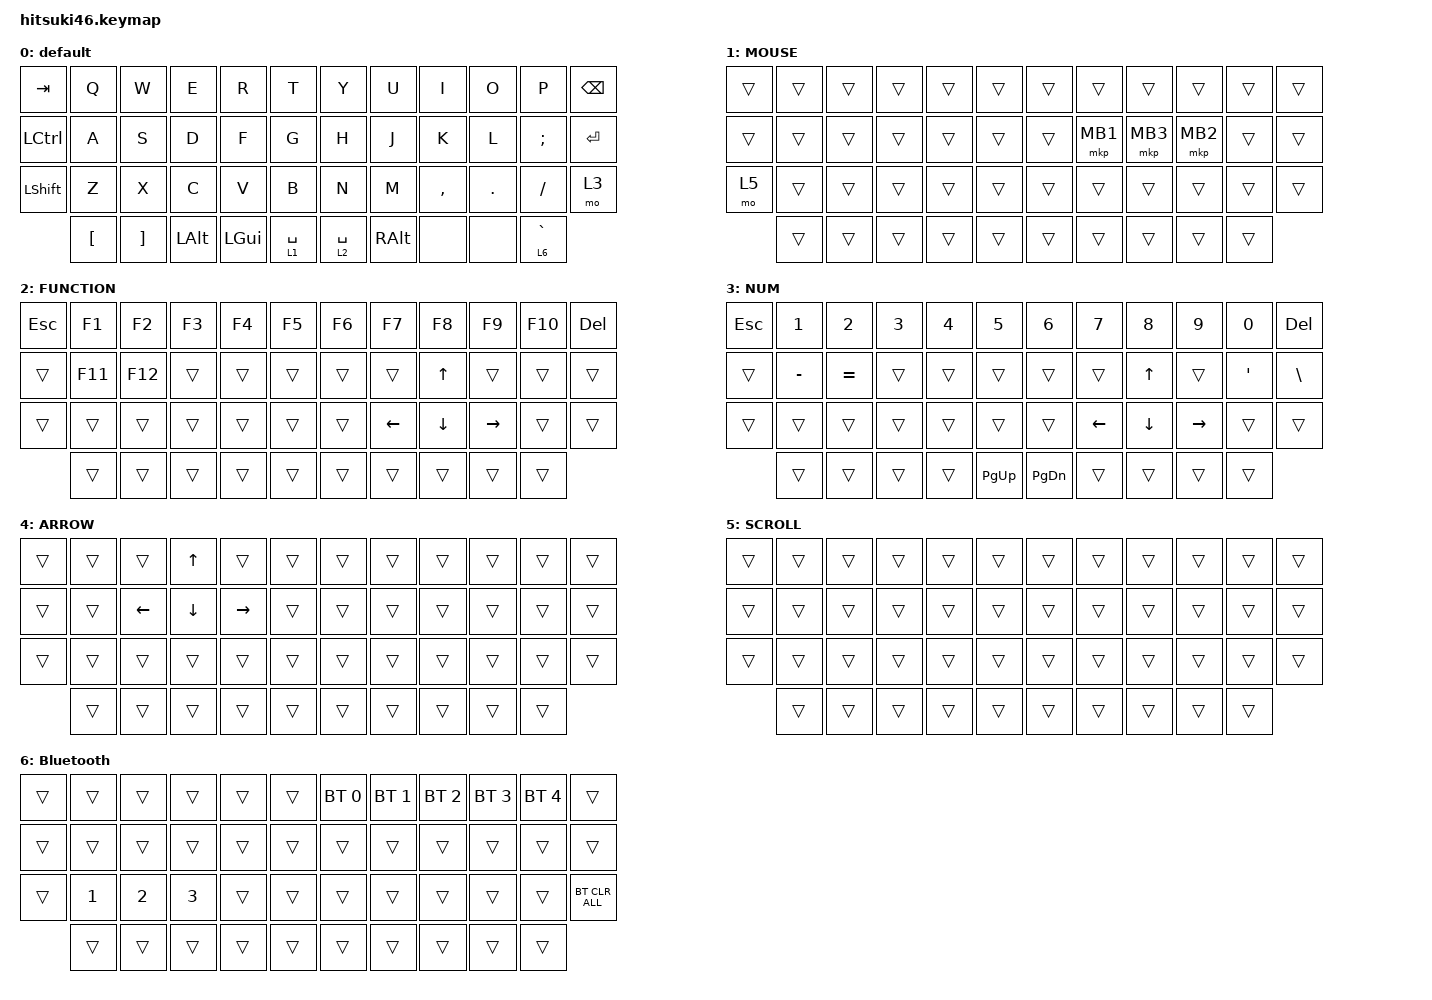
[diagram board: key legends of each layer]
#include <behaviors.dtsi>
#include <dt-bindings/zmk/bt.h>
#include <dt-bindings/zmk/keys.h>
#include <dt-bindings/zmk/pointing.h>

&mt {
    flavor = "balanced";
    quick-tap-ms = <0>;
};

// &trackball {
//     // Note: automouse-layer and scroll-layers are no longer supported in badjeff/zmk-pmw3610-driver
//     // These features should now be configured using layer-based zmk,input-listener in keymap
//     // automouse-layer = <1>;
//     // scroll-layers = <5>;
// };

/ {
    combos {
        compatible = "zmk,combos";

        tab {
            bindings = <&kp TAB>;
            key-positions = <11 12>;
        };

        shift_tab {
            bindings = <&kp LS(TAB)>;
            key-positions = <12 13>;
        };

        muhennkann {
            bindings = <&to_layer_0 INT_MUHENKAN>;
            key-positions = <11 10>;
        };

        double_quotation {
            bindings = <&kp DOUBLE_QUOTES>;
            key-positions = <20 21>;
        };

        eq {
            bindings = <&kp EQUAL>;
            key-positions = <24 25>;
        };
    };

    macros {
        to_layer_0: to_layer_0 {
            compatible = "zmk,behavior-macro-one-param";
            #binding-cells = <1>;
            bindings = <&to 0 &macro_param_1to1 &kp MACRO_PLACEHOLDER>;
            label = "TO_LAYER_0";
        };
    };

    behaviors {
        lt_to_layer_0: lt_to_layer_0 {
            compatible = "zmk,behavior-hold-tap";
            label = "LAYER_TAP_TO_0";
            bindings = <&mo>, <&to_layer_0>;

            #binding-cells = <2>;
            tapping-term-ms = <200>;
        };
    };

    keymap {
        compatible = "zmk,keymap";

        default {
            bindings = <
&kp TAB         &kp Q             &kp W              &kp E         &kp R         &kp T        &kp Y        &kp U          &kp I      &kp O       &kp P        &kp BACKSPACE
&kp LCTRL       &kp A             &kp S              &kp D         &kp F         &kp G        &kp H        &kp J          &kp K      &kp L       &kp SEMI     &kp ENTER
&kp LEFT_SHIFT  &kp Z             &kp X              &kp C         &kp V         &kp B        &kp N        &kp M          &kp COMMA  &kp PERIOD  &kp SLASH    &mo 3
                &kp LEFT_BRACKET  &kp RIGHT_BRACKET  &kp LEFT_ALT  &kp LEFT_GUI  &lt 1 SPACE  &lt 2 SPACE  &kp RIGHT_ALT  &none      &none       &lt 6 GRAVE
            >;
        };

        MOUSE {
            bindings = <
&trans  &trans  &trans  &trans  &trans  &trans  &trans  &trans    &trans    &trans    &trans  &trans
&trans  &trans  &trans  &trans  &trans  &trans  &trans  &mkp MB1  &mkp MB3  &mkp MB2  &trans  &trans
&mo 5   &trans  &trans  &trans  &trans  &trans  &trans  &trans    &trans    &trans    &trans  &trans
        &trans  &trans  &trans  &trans  &trans  &trans  &trans    &trans    &trans    &trans
            >;
        };

        FUNCTION {
            bindings = <
&kp ESC  &kp F1   &kp F2   &kp F3  &kp F4  &kp F5  &kp F6  &kp F7          &kp F8          &kp F9           &kp F10  &kp DEL
&trans   &kp F11  &kp F12  &trans  &trans  &trans  &trans  &trans          &kp UP_ARROW    &trans           &trans   &trans
&trans   &trans   &trans   &trans  &trans  &trans  &trans  &kp LEFT_ARROW  &kp DOWN_ARROW  &kp RIGHT_ARROW  &trans   &trans
         &trans   &trans   &trans  &trans  &trans  &trans  &trans          &trans          &trans           &trans
            >;
        };

        NUM {
            bindings = <
&kp ESC  &kp N1     &kp N2     &kp N3  &kp N4  &kp N5       &kp N6         &kp N7          &kp N8          &kp N9           &kp N0   &kp DELETE
&trans   &kp MINUS  &kp EQUAL  &trans  &trans  &trans       &trans         &trans          &kp UP_ARROW    &trans           &kp SQT  &kp BACKSLASH
&trans   &trans     &trans     &trans  &trans  &trans       &trans         &kp LEFT_ARROW  &kp DOWN_ARROW  &kp RIGHT_ARROW  &trans   &trans
         &trans     &trans     &trans  &trans  &kp PAGE_UP  &kp PAGE_DOWN  &trans          &trans          &trans           &trans
            >;
        };

        ARROW {
            bindings = <
&trans  &trans  &trans    &kp UP    &trans     &trans  &trans  &trans  &trans  &trans  &trans  &trans
&trans  &trans  &kp LEFT  &kp DOWN  &kp RIGHT  &trans  &trans  &trans  &trans  &trans  &trans  &trans
&trans  &trans  &trans    &trans    &trans     &trans  &trans  &trans  &trans  &trans  &trans  &trans
        &trans  &trans    &trans    &trans     &trans  &trans  &trans  &trans  &trans  &trans
            >;
        };

        SCROLL {
            bindings = <
&trans  &trans  &trans  &trans  &trans  &trans  &trans  &trans  &trans  &trans  &trans  &trans
&trans  &trans  &trans  &trans  &trans  &trans  &trans  &trans  &trans  &trans  &trans  &trans
&trans  &trans  &trans  &trans  &trans  &trans  &trans  &trans  &trans  &trans  &trans  &trans
        &trans  &trans  &trans  &trans  &trans  &trans  &trans  &trans  &trans  &trans
            >;
        };

        Bluetooth {
            bindings = <
&trans  &trans        &trans        &trans        &trans  &trans  &bt BT_SEL 0  &bt BT_SEL 1  &bt BT_SEL 2  &bt BT_SEL 3  &bt BT_SEL 4  &trans
&trans  &trans        &trans        &trans        &trans  &trans  &trans        &trans        &trans        &trans        &trans        &trans
&trans  &kp NUMBER_1  &kp NUMBER_2  &kp NUMBER_3  &trans  &trans  &trans        &trans        &trans        &trans        &trans        &bt BT_CLR_ALL
        &trans        &trans        &trans        &trans  &trans  &trans        &trans        &trans        &trans        &trans
            >;
        };
    };
};
